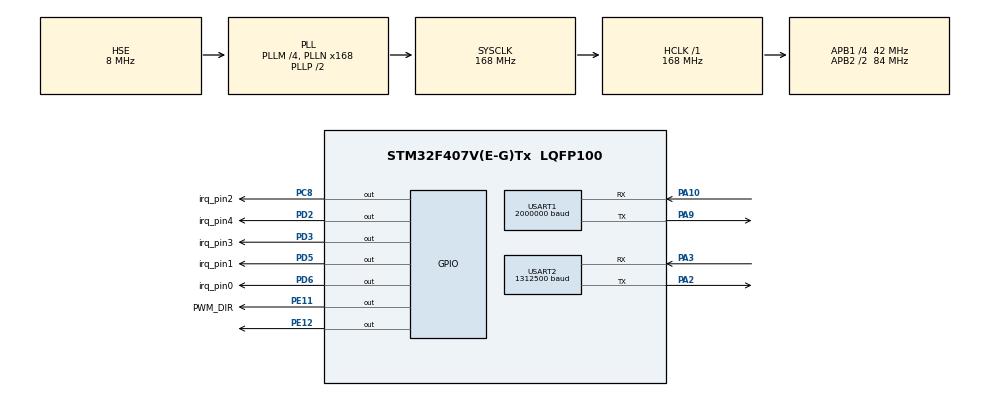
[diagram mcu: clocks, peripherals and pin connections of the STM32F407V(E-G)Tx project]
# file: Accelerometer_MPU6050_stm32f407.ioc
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Dma.Request0=USART2_TX
Dma.Request1=USART1_RX
Dma.USART1_RX.1.Direction=DMA_PERIPH_TO_MEMORY
Dma.USART1_RX.1.FIFOMode=DMA_FIFOMODE_DISABLE
Dma.USART1_RX.1.Instance=DMA2_Stream2
Dma.USART1_RX.1.MemDataAlignment=DMA_MDATAALIGN_BYTE
Dma.USART1_RX.1.MemInc=DMA_MINC_DISABLE
Dma.USART1_RX.1.Mode=DMA_CIRCULAR
Dma.USART1_RX.1.PeriphDataAlignment=DMA_PDATAALIGN_BYTE
Dma.USART1_RX.1.PeriphInc=DMA_PINC_DISABLE
Dma.USART1_RX.1.Priority=DMA_PRIORITY_VERY_HIGH
Dma.USART2_TX.0.Direction=DMA_MEMORY_TO_PERIPH
Dma.USART2_TX.0.FIFOMode=DMA_FIFOMODE_DISABLE
Dma.USART2_TX.0.Instance=DMA1_Stream6
Dma.USART2_TX.0.MemDataAlignment=DMA_MDATAALIGN_BYTE
Dma.USART2_TX.0.MemInc=DMA_MINC_ENABLE
Dma.USART2_TX.0.Mode=DMA_NORMAL
Dma.USART2_TX.0.PeriphDataAlignment=DMA_PDATAALIGN_BYTE
Dma.USART2_TX.0.PeriphInc=DMA_PINC_DISABLE
Dma.USART2_TX.0.Priority=DMA_PRIORITY_LOW
Mcu.Family=STM32F4
Mcu.Name=STM32F407V(E-G)Tx
Mcu.Package=LQFP100
NVIC.DMA1_Stream6_IRQn=true\:0\:0\:false\:false\:true\:true\:true
NVIC.DMA2_Stream2_IRQn=true\:0\:0\:false\:false\:false\:false\:true
NVIC.PriorityGroup=NVIC_PRIORITYGROUP_2
NVIC.TIM3_IRQn=true\:1\:0\:true\:false\:false\:true\:true
NVIC.USART2_IRQn=true\:1\:2\:true\:false\:false\:true\:true
PA10.Mode=Asynchronous
PA10.Signal=USART1_RX
PA13.GPIO_Label=SWDIO
PA13.Mode=Serial_Wire
PA13.Signal=SYS_JTMS-SWDIO
PA14.GPIO_Label=SWCLK
PA14.Mode=Serial_Wire
PA14.Signal=SYS_JTCK-SWCLK
PA2.Mode=Asynchronous
PA2.Signal=USART2_TX
PA3.Mode=Asynchronous
PA3.Signal=USART2_RX
PA8.GPIO_Speed=GPIO_SPEED_FREQ_VERY_HIGH
PA8.Signal=S_TIM1_CH1
PA9.Mode=Asynchronous
PA9.Signal=USART1_TX
PC8.GPIO_Label=irq_pin2
PC8.GPIO_ModeDefaultOutputPP=GPIO_MODE_OUTPUT_PP
PC8.GPIO_PuPd=GPIO_NOPULL
PC8.GPIO_Speed=GPIO_SPEED_FREQ_VERY_HIGH
PC8.PinState=GPIO_PIN_RESET
PC8.Signal=GPIO_Output
PD2.GPIO_Label=irq_pin4
PD2.GPIO_ModeDefaultOutputPP=GPIO_MODE_OUTPUT_PP
PD2.GPIO_PuPd=GPIO_NOPULL
PD2.GPIO_Speed=GPIO_SPEED_FREQ_VERY_HIGH
PD2.PinState=GPIO_PIN_RESET
PD2.Signal=GPIO_Output
PD3.GPIO_Label=irq_pin3
PD3.GPIO_ModeDefaultOutputPP=GPIO_MODE_OUTPUT_PP
PD3.GPIO_PuPd=GPIO_NOPULL
PD3.GPIO_Speed=GPIO_SPEED_FREQ_VERY_HIGH
PD3.PinState=GPIO_PIN_RESET
PD3.Signal=GPIO_Output
PD5.GPIO_Label=irq_pin1
PD5.GPIO_ModeDefaultOutputPP=GPIO_MODE_OUTPUT_PP
PD5.GPIO_PuPd=GPIO_NOPULL
PD5.GPIO_Speed=GPIO_SPEED_FREQ_VERY_HIGH
PD5.PinState=GPIO_PIN_RESET
PD5.Signal=GPIO_Output
PD6.GPIO_Label=irq_pin0
PD6.GPIO_ModeDefaultOutputPP=GPIO_MODE_OUTPUT_PP
PD6.GPIO_PuPd=GPIO_NOPULL
PD6.GPIO_Speed=GPIO_SPEED_FREQ_VERY_HIGH
PD6.PinState=GPIO_PIN_RESET
PD6.Signal=GPIO_Output
PE11.GPIO_Label=PWM_DIR
PE11.GPIO_Speed=GPIO_SPEED_FREQ_VERY_HIGH
PE11.Signal=GPIO_Output
PE12.Signal=GPIO_Output
PH0-OSC_IN.GPIO_Label=PH0-OSC_IN
PH0-OSC_IN.Mode=HSE-External-Oscillator
PH0-OSC_IN.Signal=RCC_OSC_IN
PH1-OSC_OUT.GPIO_Label=PH1-OSC_OUT
PH1-OSC_OUT.Mode=HSE-External-Oscillator
PH1-OSC_OUT.Signal=RCC_OSC_OUT
ProjectManager.HeapSize=0xA00
ProjectManager.StackSize=0xAE00
ProjectManager.TargetToolchain=MDK-ARM V5.27
RCC.48MHZClocksFreq_Value=84000000
RCC.AHBFreq_Value=168000000
RCC.APB1CLKDivider=RCC_HCLK_DIV4
RCC.APB1Freq_Value=42000000
RCC.APB1TimFreq_Value=84000000
RCC.APB2CLKDivider=RCC_HCLK_DIV2
RCC.APB2Freq_Value=84000000
RCC.APB2TimFreq_Value=168000000
RCC.CortexFreq_Value=168000000
RCC.FLatency=FLASH_LATENCY_5
RCC.HCLKFreq_Value=168000000
RCC.HSE_VALUE=8000000
RCC.HSI_VALUE=16000000
RCC.LSE_VALUE=32768
RCC.PLLM=4
RCC.PLLN=168
RCC.PLLSourceVirtual=RCC_PLLSOURCE_HSE
RCC.SYSCLKFreq_VALUE=168000000
RCC.SYSCLKSource=RCC_SYSCLKSOURCE_PLLCLK
RCC.VCOOutputFreq_Value=336000000
SH.S_TIM1_CH1.0=TIM1_CH1
TIM3.AutoReloadPreload=TIM_AUTORELOAD_PRELOAD_DISABLE
TIM3.ClockDivision=TIM_CLOCKDIVISION_DIV1
TIM3.CounterMode=TIM_COUNTERMODE_UP
TIM3.Period=10-1
TIM3.Prescaler=1680-1
TIM3.TIM_MasterOutputTrigger=TIM_TRGO_RESET
TIM3.TIM_MasterSlaveMode=TIM_MASTERSLAVEMODE_DISABLE
TIM6.AutoReloadPreload=TIM_AUTORELOAD_PRELOAD_DISABLE
TIM6.CounterMode=TIM_COUNTERMODE_UP
TIM6.Period=200-1
TIM6.Prescaler=83
TIM6.TIM_MasterOutputTrigger=TIM_TRGO_RESET
USART1.BaudRate=2000000
USART1.Mode=MODE_RX
USART1.OverSampling=UART_OVERSAMPLING_16
USART1.Parity=PARITY_NONE
USART1.StopBits=STOPBITS_1
USART1.VirtualMode=VM_ASYNC
USART1.WordLength=WORDLENGTH_8B
USART2.BaudRate=1312500
USART2.Mode=MODE_TX_RX
USART2.OverSampling=UART_OVERSAMPLING_16
USART2.Parity=PARITY_NONE
USART2.StopBits=STOPBITS_1
USART2.VirtualMode=VM_ASYNC
USART2.WordLength=WORDLENGTH_8B
VP_TIM3_VS_ClockSourceINT.Mode=Internal
VP_TIM6_VS_ClockSourceINT.Mode=Enable_Timer
board=STM32F407G-DISC1

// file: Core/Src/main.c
/* USER CODE BEGIN Header */
/**
  ******************************************************************************
  * @file           : main.c
  * @brief          : Main program body
  ******************************************************************************
  * @attention
  *
  * Copyright (c) 2022 STMicroelectronics.
  * All rights reserved.
  *
  * This software is licensed under terms that can be found in the LICENSE file
  * in the root directory of this software component.
  * If no LICENSE file comes with this software, it is provided AS-IS.
  *
  ******************************************************************************
  */
/* USER CODE END Header */
#include "main.h"
#include "dma.h"
#include "tim.h"
#include "usart.h"
#include "gpio.h"

/* USER CODE BEGIN Includes */
#include "math.h"
#include "string.h"
#include "binary_support.h"
/* USER CODE END Includes */

/* USER CODE BEGIN PD */

#define M_PI 3.141592653589

/* USER CODE END PD */

/* USER CODE BEGIN PV */
uint8_t test_command = 0;		//variable testing commands:
static volatile uint8_t UART_DMA_Test[10] = {0xAF, 1, 2, 3, 4, 5, 6, 7, 8, 9};

//--------------------------------------------------------
int32_t FREQ_UART_BUFFER[FREQ_SAMPLE_NUM_TOTAL] = {0};
static uint8_t UART_DMA_TxBuf[800+2] = {0};
static uint8_t UART_DMA_TxCommand[7] = {0};
uint8_t FREQ_DATA_SEND = 0, FREQ_START = 0, FREQ_DATA_SEND_OK = 1;
extern uint16_t freq_queue_pt;
volatile uint32_t command_transmit_error_num = 0, data_transmit_error_num = 0, freq_queue_overrun_count = 0;

volatile FREQ_queue_t FREQ_queue[FREQ_QUEUE_SIZE];
volatile uint8_t FREQ_UART_Rx = 0;
volatile uint8_t FREQ_uart_received = 0;
uint16_t freq_queue_pt_local, crc, freq_loc, num_loc, pt_loc;
uint32_t total_pack_num = 0;

int32_t intPos = 0;
int32_t intPosDelta = 0;
int32_t intPosPrev = 0;
int32_t intPosCurrent = 0;
//-----------------------------------------------------------------------

uint32_t TransmitTickCount = 0;

uint8_t ring_buf_first = 0;
uint8_t pack[6] = {0};
uint8_t rec_count = 0;
uint8_t state = 0;

uint16_t checkError = 0;

void (*EncoderHandler)(void);
HAL_StatusTypeDef status_check;
/* USER CODE END PV */

void SystemClock_Config(void);

int main(void)
{
  /* USER CODE BEGIN 1 */
	CoreDebug->DEMCR |= CoreDebug_DEMCR_TRCENA_Msk;		// разрешаем использовать DWT
  DWT->CTRL |= DWT_CTRL_CYCCNTENA_Msk; 			// включаем счётчик
  /* USER CODE END 1 */

  /* MCU Configuration--------------------------------------------------------*/

  /* Reset of all peripherals, Initializes the Flash interface and the Systick. */
  HAL_Init();

  /* Configure the system clock */
  SystemClock_Config();

  /* Initialize all configured peripherals */
  MX_GPIO_Init();
  MX_TIM3_Init();
  MX_DMA_Init();
  MX_USART1_UART_Init();
  MX_TIM6_Init();
  MX_USART2_UART_Init();
  /* USER CODE BEGIN 2 */
	EncoderHandler = EncoderDMA_NoSynchro;

	HAL_UART_Receive_DMA(&huart1, &ring_buf_first, 1);

	TIM1_Init();
	TIM4_Init();

  /* USER CODE END 2 */

  /* Infinite loop */
  /* USER CODE BEGIN WHILE */

	test_command = 0;

  while (1)
  {
    /* USER CODE END WHILE */

    /* USER CODE BEGIN 3 */
		if((freq_queue_pt != freq_queue_pt_local))//(freq_queue_pt != 0)
    {
			//DWT->CYCCNT = 0;
        while(!(huart2.gState == HAL_UART_STATE_READY));

        freq_loc = FREQ_queue[freq_queue_pt_local].freq;
        num_loc = 4*FREQ_queue[freq_queue_pt_local].num;
				total_pack_num += FREQ_queue[freq_queue_pt_local].num;
        pt_loc = FREQ_queue[freq_queue_pt_local].pt;
        freq_queue_pt_local++;
				freq_queue_pt_local %= FREQ_QUEUE_SIZE;
				if(freq_loc == 0)
				{
					 Error_Handler();
				}
        UART_DMA_TxCommand[0] = 0xAF;
				UART_DMA_TxCommand[1] = (freq_loc & 0xFF00)>>8;
				UART_DMA_TxCommand[2] = (freq_loc & 0x00FF);
				UART_DMA_TxCommand[3] = ((num_loc) & 0xFF00)>>8;
				UART_DMA_TxCommand[4] = ((num_loc) & 0x00FF);
				crc = calcCRC((uint8_t*)&UART_DMA_TxCommand[1], 4);
				UART_DMA_TxCommand[5] = (crc & 0xFF00)>>8;
				UART_DMA_TxCommand[6] = (crc & 0x00FF);
				// Отправка пакета команды
				status_check = HAL_UART_Transmit_DMA(&huart2, (uint8_t* )UART_DMA_TxCommand, 7);

        memcpy((void *)&UART_DMA_TxBuf[0], (void *)&FREQ_UART_BUFFER[pt_loc], num_loc);
        FREQ_DATA_SEND_OK = 0;
				FREQ_uart_received = 0;
				FREQ_UART_Rx = 0;
				while(!FREQ_DATA_SEND_OK)
				{
					while(!FREQ_uart_received);

					if(FREQ_UART_Rx == 0x12)
					{
							FREQ_DATA_SEND_OK = 1;
							FREQ_UART_Rx = 0;
					}
					else //if(FREQ_UART_Rx == 0x14)
					{
						command_transmit_error_num++;
						FREQ_uart_received = 0;
						FREQ_UART_Rx = 0;
						status_check = HAL_UART_Transmit_DMA(&huart2, (uint8_t* )UART_DMA_TxCommand, 7);
					}
				}
        crc = calcCRC((uint8_t*)&UART_DMA_TxBuf[0], num_loc);
        UART_DMA_TxBuf[num_loc] = (crc & 0xFF00)>>8;
        UART_DMA_TxBuf[num_loc + 1] = (crc & 0x00FF);
        FREQ_DATA_SEND_OK = 0;

        do
        {
					FREQ_uart_received = 0;
					FREQ_UART_Rx = 0;
					status_check = HAL_UART_Transmit_DMA(&huart2, (uint8_t* )UART_DMA_TxBuf, num_loc + 2);
					while(!FREQ_uart_received);

					if(FREQ_UART_Rx == 0x43)
					{
							FREQ_DATA_SEND_OK = 1;
					}
					else if(FREQ_UART_Rx == 0x14)
					{
						data_transmit_error_num++;
//							while(1);
					}
        }while(!FREQ_DATA_SEND_OK);
				//TransmitTickCount = DWT->CYCCNT;
    }

		if(test_command == 7)
		{
			test_command = 0;
			FREQ_START = 1;
			HAL_TIM_Base_Start_IT(&htim3);// 5kHz
			TIM6->EGR = TIM_EGR_UG;
			TIM6->SR = 0;
			__HAL_TIM_ENABLE_IT(&htim6, TIM_IT_UPDATE);
			HAL_TIM_Base_Start_IT(&htim6);// 4kHz
		}

  }
  /* USER CODE END 3 */
}

void SystemClock_Config(void)
{
  RCC_OscInitTypeDef RCC_OscInitStruct = {0};
  RCC_ClkInitTypeDef RCC_ClkInitStruct = {0};

  /** Configure the main internal regulator output voltage
  */
  __HAL_RCC_PWR_CLK_ENABLE();
  __HAL_PWR_VOLTAGESCALING_CONFIG(PWR_REGULATOR_VOLTAGE_SCALE1);
  /** Initializes the RCC Oscillators according to the specified parameters
  * in the RCC_OscInitTypeDef structure.
  */
  RCC_OscInitStruct.OscillatorType = RCC_OSCILLATORTYPE_HSE;
  RCC_OscInitStruct.HSEState = RCC_HSE_ON;
  RCC_OscInitStruct.PLL.PLLState = RCC_PLL_ON;
  RCC_OscInitStruct.PLL.PLLSource = RCC_PLLSOURCE_HSE;
  RCC_OscInitStruct.PLL.PLLM = 4;
  RCC_OscInitStruct.PLL.PLLN = 168;
  RCC_OscInitStruct.PLL.PLLP = RCC_PLLP_DIV2;
  RCC_OscInitStruct.PLL.PLLQ = 4;
  if (HAL_RCC_OscConfig(&RCC_OscInitStruct) != HAL_OK)
  {
    Error_Handler();
  }
  /** Initializes the CPU, AHB and APB buses clocks
  */
  RCC_ClkInitStruct.ClockType = RCC_CLOCKTYPE_HCLK|RCC_CLOCKTYPE_SYSCLK
                              |RCC_CLOCKTYPE_PCLK1|RCC_CLOCKTYPE_PCLK2;
  RCC_ClkInitStruct.SYSCLKSource = RCC_SYSCLKSOURCE_PLLCLK;
  RCC_ClkInitStruct.AHBCLKDivider = RCC_SYSCLK_DIV1;
  RCC_ClkInitStruct.APB1CLKDivider = RCC_HCLK_DIV4;
  RCC_ClkInitStruct.APB2CLKDivider = RCC_HCLK_DIV2;

  if (HAL_RCC_ClockConfig(&RCC_ClkInitStruct, FLASH_LATENCY_5) != HAL_OK)
  {
    Error_Handler();
  }
}

/* USER CODE BEGIN 4 */

uint8_t calculated_check;

void EncoderDMA_NoSynchro(void)
{
		pack[rec_count] = ring_buf_first;
		if(!state && (ring_buf_first == 0x32))
		{
			state = 1;
		}
		if(state)
		{
			rec_count++;
			if(rec_count >= 6)
			{
				rec_count = 0;
				state = 0;
				EncoderHandler = EncoderDMA_Synchro;
				CLEAR_BIT(DMA2_Stream2->CR, DMA_SxCR_EN | DMA_SxCR_HTIE);
				DMA2_Stream2->M0AR = (uint32_t) pack;
				DMA2_Stream2->NDTR = 6;
				SET_BIT(DMA2_Stream2->CR, DMA_SxCR_MINC);
				SET_BIT(DMA2_Stream2->CR, DMA_SxCR_EN);
				calculated_check = pack[0] ^ pack[1] ^ pack[2] ^ pack[3] ^ pack[4];
				if (calculated_check == pack[5])
				{
					intPos = ((uint32_t)pack[2]) | ((uint32_t)pack[3]<<8) | ((uint32_t)pack[4]<<16);
					intPosDelta = (intPos - intPosPrev);// (intPos - intPosPrev);
					intPosPrev = intPos;
					intPosDelta = intPosDelta - (intPosDelta/2560000) * (5120000-1);
					intPosCurrent += intPosDelta;
				}
				else
				{
					checkError += 1;
				}
			}
		}
}

void EncoderDMA_Synchro(void)
{
	calculated_check = pack[0] ^ pack[1] ^ pack[2] ^ pack[3] ^ pack[4];
	if (calculated_check == pack[5])
	{
		intPos = ((uint32_t)pack[2]) | ((uint32_t)pack[3]<<8) | ((uint32_t)pack[4]<<16);
		intPosDelta = (intPos - intPosPrev);// (intPos - intPosPrev);
		intPosPrev = intPos;
		intPosDelta = intPosDelta - (intPosDelta/2560000) * (5120000-1);
		intPosCurrent += intPosDelta;
	}
	else
	{
		checkError += 1;
	}
}

/* USER CODE END 4 */

void Error_Handler(void)
{
  __disable_irq();
  while (1)
  {
  }
}

/************************ (C) COPYRIGHT STMicroelectronics *****END OF FILE****/
